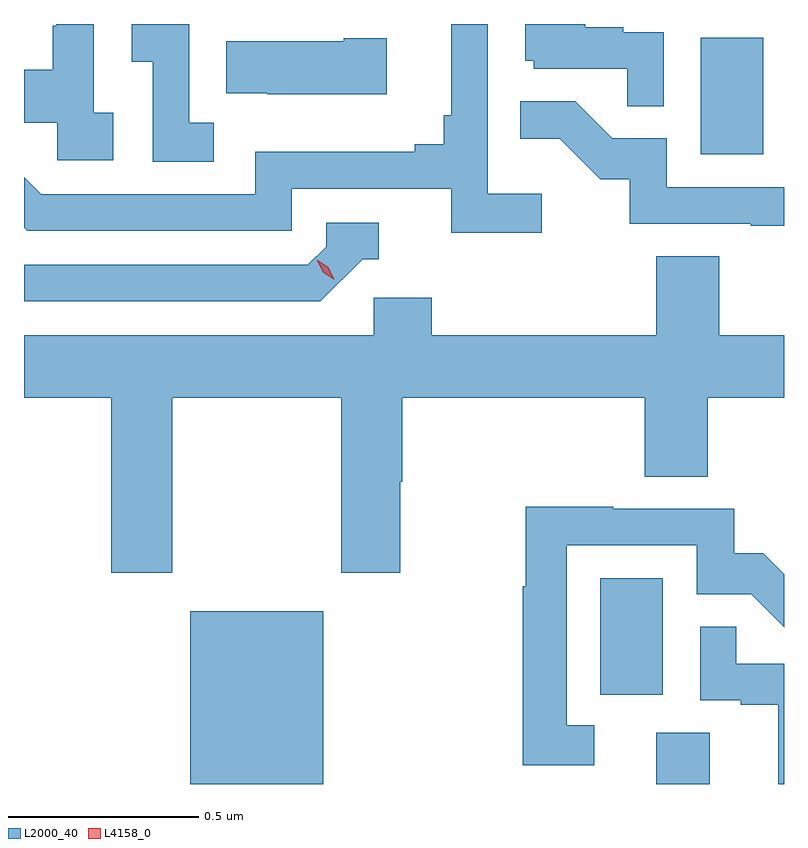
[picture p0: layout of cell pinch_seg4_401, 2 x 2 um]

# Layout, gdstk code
import gdstk
lib = gdstk.Library(unit=1e-6, precision=1e-09)
def R(c, l, rs):  # rectangles x0, y0, x1, y1
    for r in rs: c.add(gdstk.rectangle(r[:2], r[2:], *l))
def P(c, l, *ps):  # polygons
    for p in ps: c.add(gdstk.Polygon(p, *l))
L2000_40 = (2000, 40)
L4158_0 = (4158, 0)

pinch_seg4_401 = lib.new_cell('pinch_seg4_401')
R(pinch_seg4_401, L2000_40, [(972.32,787.811,972.67,788.266), (973.547,787.811,973.687,787.946), (973.4,788.046,973.564,788.353), (973.664,789.468,973.828,789.775)])
P(pinch_seg4_401, L2000_40, [(973.566,789.789),(973.46,789.789),(973.46,789.802),(973.36,789.802),(973.36,789.811),(973.202,789.811),(973.202,789.714),(973.224,789.714),(973.224,789.693),(973.471,789.693),(973.471,789.595),(973.566,789.595)],
  [(973.246,789.364),(973.104,789.364),(973.104,789.811),(973.007,789.811),(973.007,789.571),(972.988,789.571),(972.988,789.494),(972.911,789.494),(972.911,789.475),(972.492,789.475),(972.492,789.363),(971.928,789.363),(971.883,789.408),(971.883,789.275),(971.891,789.267),(972.588,789.267),(972.588,789.378),(973.007,789.378),(973.007,789.262),(973.246,789.262)],
  [(972.118,789.578),(972.066,789.578),(972.066,789.811),(971.968,789.811),(971.968,789.806),(971.958,789.806),(971.958,789.691),(971.883,789.691),(971.883,789.551),(971.97,789.551),(971.97,789.453),(972.118,789.453)],
  [(972.382,789.551),(972.318,789.551),(972.318,789.811),(972.167,789.811),(972.167,789.712),(972.222,789.712),(972.222,789.448),(972.382,789.448)],
  [(972.838,789.774),(972.725,789.774),(972.725,789.766),(972.415,789.766),(972.415,789.629),(972.523,789.629),(972.523,789.626),(972.838,789.626)],
  [(973.883,789.381),(973.575,789.381),(973.575,789.51),(973.431,789.51),(973.333,789.608),(973.189,789.608),(973.189,789.509),(973.293,789.509),(973.4,789.402),(973.477,789.402),(973.477,789.285),(973.795,789.285),(973.795,789.28),(973.883,789.28)],
  [(972.774,789.192),(972.817,789.192),(972.817,789.288),(972.678,789.288),(972.678,789.225),(972.63,789.177),(971.883,789.177),(971.883,789.081),(972.663,789.081)],
  [(972.873,788.606),(972.878,788.606),(972.878,788.828),(973.517,788.828),(973.517,788.62),(973.682,788.62),(973.682,788.828),(973.883,788.828),(973.883,788.992),(973.712,788.992),(973.712,789.2),(973.547,789.2),(973.547,788.992),(972.956,788.992),(972.956,789.09),(972.804,789.09),(972.804,788.992),(971.883,788.992),(971.883,788.828),(972.113,788.828),(972.113,788.367),(972.273,788.367),(972.273,788.828),(972.718,788.828),(972.718,788.367),(972.873,788.367)],
  [(973.384,787.965),(973.311,787.965),(973.311,788.439),(973.653,788.439),(973.653,788.31),(973.797,788.31),(973.883,788.224),(973.883,788.363),(973.828,788.418),(973.752,788.418),(973.752,788.535),(973.433,788.535),(973.433,788.54),(973.203,788.54),(973.203,788.332),(973.195,788.332),(973.195,787.86),(973.384,787.86)],
  [(973.883,788.127),(973.757,788.127),(973.757,788.225),(973.662,788.225),(973.662,788.031),(973.769,788.031),(973.769,788.019),(973.868,788.019),(973.868,787.811),(973.883,787.811)])
P(pinch_seg4_401, L4158_0, [(972.7,789.138),(972.67,789.158),(972.654,789.19),(972.654,789.19),(972.654,789.19),(972.684,789.171),(972.7,789.139),(972.7,789.138)])

lib.write_gds('pinch_seg4_401.gds')
